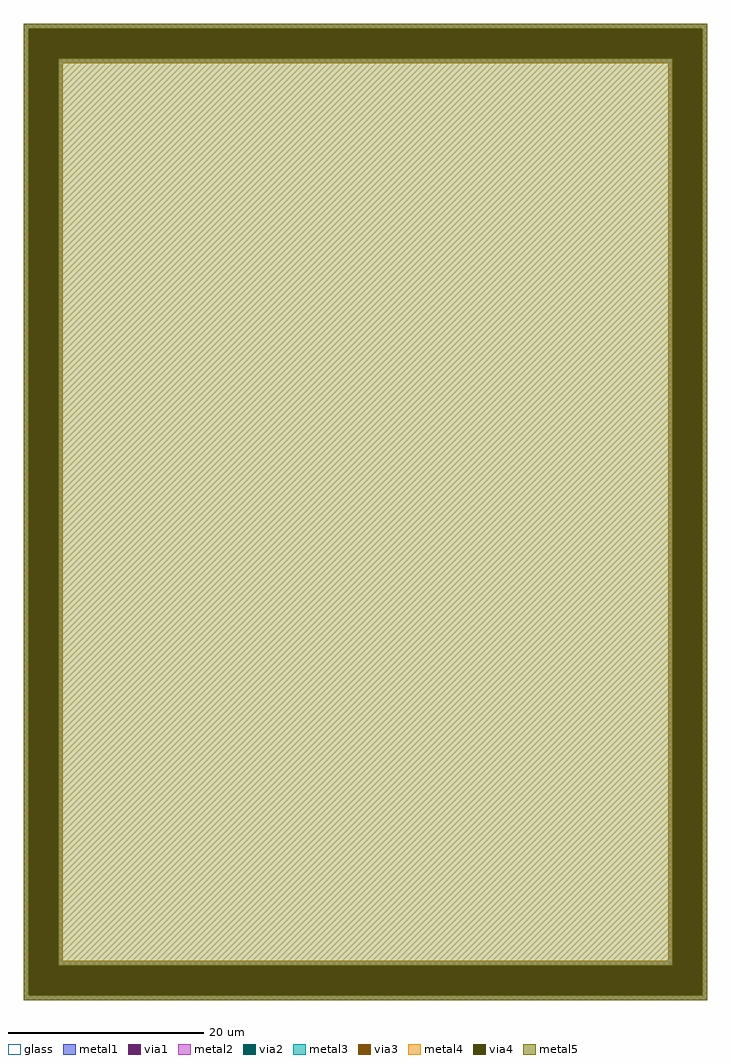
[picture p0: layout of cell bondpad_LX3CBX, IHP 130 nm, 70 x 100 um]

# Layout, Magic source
magic
tech ihp-sg13cmos5l
<< metal1 >>
rect -3500 4950 3500 5000
rect -3500 -4950 -3450 4950
rect -3150 4600 3150 4650
rect -3150 -4600 -3100 4600
rect 3100 -4600 3150 4600
rect -3150 -4650 3150 -4600
rect 3450 -4950 3500 4950
rect -3500 -5000 3500 -4950
<< via1 >>
rect -3450 4650 3450 4950
rect -3450 -4650 -3150 4650
rect 3150 -4650 3450 4650
rect -3450 -4950 3450 -4650
<< metal2 >>
rect -3500 4950 3500 5000
rect -3500 -4950 -3450 4950
rect -3150 4600 3150 4650
rect -3150 -4600 -3100 4600
rect 3100 -4600 3150 4600
rect -3150 -4650 3150 -4600
rect 3450 -4950 3500 4950
rect -3500 -5000 3500 -4950
<< via2 >>
rect -3450 4650 3450 4950
rect -3450 -4650 -3150 4650
rect 3150 -4650 3450 4650
rect -3450 -4950 3450 -4650
<< metal3 >>
rect -3500 4950 3500 5000
rect -3500 -4950 -3450 4950
rect -3150 4600 3150 4650
rect -3150 -4600 -3100 4600
rect 3100 -4600 3150 4600
rect -3150 -4650 3150 -4600
rect 3450 -4950 3500 4950
rect -3500 -5000 3500 -4950
<< via3 >>
rect -3450 4650 3450 4950
rect -3450 -4650 -3150 4650
rect 3150 -4650 3450 4650
rect -3450 -4950 3450 -4650
<< metal4 >>
rect -3500 4950 3500 5000
rect -3500 -4950 -3450 4950
rect -3150 4600 3150 4650
rect -3150 -4600 -3100 4600
rect 3100 -4600 3150 4600
rect -3150 -4650 3150 -4600
rect 3450 -4950 3500 4950
rect -3500 -5000 3500 -4950
<< via4 >>
rect -3450 4650 3450 4950
rect -3450 -4650 -3150 4650
rect 3150 -4650 3450 4650
rect -3450 -4950 3450 -4650
<< metal5 >>
rect -3500 4950 3500 5000
rect -3500 -4950 -3450 4950
rect -3150 -4650 3150 4650
rect 3450 -4950 3500 4950
rect -3500 -5000 3500 -4950
<< glass >>
rect -3290 -4790 3290 4790
<< properties >>
string gencell bondpad
string library sg13cmos5l
string parameters height 100 width 70 depth 5 class special shape square
<< end >>
